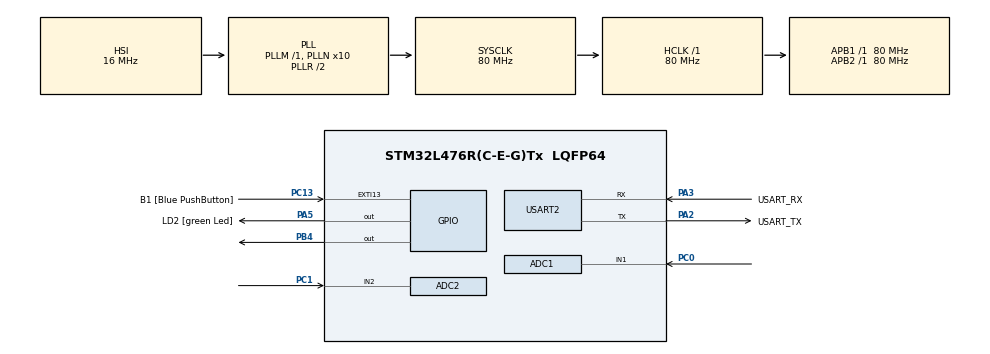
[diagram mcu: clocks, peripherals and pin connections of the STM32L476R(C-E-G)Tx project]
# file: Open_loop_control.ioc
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ADC1.Channel-0\#ChannelRegularConversion=ADC_CHANNEL_1
ADC1.NbrOfConversionFlag=1
ADC1.OffsetNumber-0\#ChannelRegularConversion=ADC_OFFSET_NONE
ADC1.Rank-0\#ChannelRegularConversion=1
ADC1.SamplingTime-0\#ChannelRegularConversion=ADC_SAMPLETIME_2CYCLES_5
ADC1.master=1
ADC2.Channel-0\#ChannelRegularConversion=ADC_CHANNEL_2
ADC2.NbrOfConversionFlag=1
ADC2.OffsetNumber-0\#ChannelRegularConversion=ADC_OFFSET_NONE
ADC2.Rank-0\#ChannelRegularConversion=1
ADC2.SamplingTime-0\#ChannelRegularConversion=ADC_SAMPLETIME_2CYCLES_5
Dma.Request0=USART2_RX
Dma.Request1=USART2_TX
Dma.USART2_RX.0.Direction=DMA_PERIPH_TO_MEMORY
Dma.USART2_RX.0.Instance=DMA1_Channel6
Dma.USART2_RX.0.MemDataAlignment=DMA_MDATAALIGN_BYTE
Dma.USART2_RX.0.MemInc=DMA_MINC_ENABLE
Dma.USART2_RX.0.Mode=DMA_NORMAL
Dma.USART2_RX.0.PeriphDataAlignment=DMA_PDATAALIGN_BYTE
Dma.USART2_RX.0.PeriphInc=DMA_PINC_DISABLE
Dma.USART2_RX.0.Priority=DMA_PRIORITY_LOW
Dma.USART2_TX.1.Direction=DMA_MEMORY_TO_PERIPH
Dma.USART2_TX.1.Instance=DMA1_Channel7
Dma.USART2_TX.1.MemDataAlignment=DMA_MDATAALIGN_BYTE
Dma.USART2_TX.1.MemInc=DMA_MINC_ENABLE
Dma.USART2_TX.1.Mode=DMA_NORMAL
Dma.USART2_TX.1.PeriphDataAlignment=DMA_PDATAALIGN_BYTE
Dma.USART2_TX.1.PeriphInc=DMA_PINC_DISABLE
Dma.USART2_TX.1.Priority=DMA_PRIORITY_LOW
Mcu.Family=STM32L4
Mcu.Name=STM32L476R(C-E-G)Tx
Mcu.Package=LQFP64
NVIC.ADC1_2_IRQn=true\:0\:0\:false\:false\:true\:true\:true\:true
NVIC.DMA1_Channel6_IRQn=true\:0\:0\:false\:false\:true\:false\:true\:true
NVIC.DMA1_Channel7_IRQn=true\:0\:0\:false\:false\:true\:false\:true\:true
NVIC.PriorityGroup=NVIC_PRIORITYGROUP_4
NVIC.USART2_IRQn=true\:0\:0\:false\:false\:true\:true\:true\:true
PA13\ (JTMS-SWDIO).GPIO_Label=TMS
PA13\ (JTMS-SWDIO).Mode=Serial_Wire
PA13\ (JTMS-SWDIO).Signal=SYS_JTMS-SWDIO
PA14\ (JTCK-SWCLK).GPIO_Label=TCK
PA14\ (JTCK-SWCLK).Mode=Serial_Wire
PA14\ (JTCK-SWCLK).Signal=SYS_JTCK-SWCLK
PA2.GPIO_Label=USART_TX
PA2.GPIO_Mode=GPIO_MODE_AF_PP
PA2.GPIO_PuPd=GPIO_NOPULL
PA2.GPIO_Speed=GPIO_SPEED_FREQ_VERY_HIGH
PA2.Mode=Asynchronous
PA2.Signal=USART2_TX
PA3.GPIO_Label=USART_RX
PA3.GPIO_Mode=GPIO_MODE_AF_PP
PA3.GPIO_PuPd=GPIO_NOPULL
PA3.GPIO_Speed=GPIO_SPEED_FREQ_VERY_HIGH
PA3.Mode=Asynchronous
PA3.Signal=USART2_RX
PA5.GPIO_Label=LD2 [green Led]
PA5.GPIO_ModeDefaultOutputPP=GPIO_MODE_OUTPUT_PP
PA5.GPIO_PuPd=GPIO_NOPULL
PA5.GPIO_Speed=GPIO_SPEED_FREQ_LOW
PA5.Signal=GPIO_Output
PB3\ (JTDO-TRACESWO).GPIO_Label=SWO
PB3\ (JTDO-TRACESWO).Signal=SYS_JTDO-SWO
PB4\ (NJTRST).Signal=GPIO_Output
PC0.Signal=ADCx_IN1
PC1.Signal=ADCx_IN2
PC13.GPIO_Label=B1 [Blue PushButton]
PC13.GPIO_ModeDefaultEXTI=GPIO_MODE_IT_FALLING
PC13.GPIO_PuPd=GPIO_NOPULL
PC13.Signal=GPXTI13
PC14-OSC32_IN\ (PC14).Mode=LSE-External-Oscillator
PC14-OSC32_IN\ (PC14).Signal=RCC_OSC32_IN
PC15-OSC32_OUT\ (PC15).Mode=LSE-External-Oscillator
PC15-OSC32_OUT\ (PC15).Signal=RCC_OSC32_OUT
PH0-OSC_IN\ (PH0).Signal=RCC_OSC_IN
PH1-OSC_OUT\ (PH1).Signal=RCC_OSC_OUT
ProjectManager.HeapSize=0x200
ProjectManager.StackSize=0x400
ProjectManager.TargetToolchain=STM32CubeIDE
RCC.ADCFreq_Value=64000000
RCC.AHBFreq_Value=80000000
RCC.APB1Freq_Value=80000000
RCC.APB1TimFreq_Value=80000000
RCC.APB2Freq_Value=80000000
RCC.APB2TimFreq_Value=80000000
RCC.CortexFreq_Value=80000000
RCC.HCLKFreq_Value=80000000
RCC.HSE_VALUE=8000000
RCC.HSI_VALUE=16000000
RCC.MSI_VALUE=4000000
RCC.PLLN=10
RCC.PLLSourceVirtual=RCC_PLLSOURCE_HSI
RCC.PREFETCH_ENABLE=1
RCC.SYSCLKFreq_VALUE=80000000
RCC.SYSCLKSource=RCC_SYSCLKSOURCE_PLLCLK
RCC.USBFreq_Value=64000000
RCC.VCOOutputFreq_Value=160000000
SH.ADCx_IN1.0=ADC1_IN1,IN1-Single-Ended
SH.ADCx_IN2.0=ADC2_IN2,IN2-Single-Ended
USART2.VirtualMode-Asynchronous=VM_ASYNC
USART2.WordLength=WORDLENGTH_8B
board=NUCLEO-L476RG

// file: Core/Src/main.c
/* USER CODE BEGIN Header */
/**
  ******************************************************************************
  * @file           : main.c
  * @brief          : Main program body
  ******************************************************************************
  * @attention
  *
  * Copyright (c) 2023 STMicroelectronics.
  * All rights reserved.
  *
  * This software is licensed under terms that can be found in the LICENSE file
  * in the root directory of this software component.
  * If no LICENSE file comes with this software, it is provided AS-IS.
  *
  ******************************************************************************
  */
/* USER CODE END Header */
#include "main.h"

/* USER CODE BEGIN Includes */
#include <stdio.h>
#include <stdint.h>
#include <string.h>
/* USER CODE END Includes */

/* USER CODE BEGIN PM */
#define UART_RX_BUFFER_SIZE 8
#define UART_TX_BUFFER_SIZE 12
/* USER CODE END PM */

ADC_HandleTypeDef hadc1;
ADC_HandleTypeDef hadc2;

UART_HandleTypeDef huart2;
DMA_HandleTypeDef hdma_usart2_rx;
DMA_HandleTypeDef hdma_usart2_tx;

void SystemClock_Config(void);
void PeriphCommonClock_Config(void);
static void MX_GPIO_Init(void);
static void MX_DMA_Init(void);
static void MX_USART2_UART_Init(void);
static void MX_ADC1_Init(void);
static void MX_ADC2_Init(void);
/* USER CODE BEGIN PFP */
void SIM_set_torques(uint8_t *Tx_data, float torqueLeft, float torqueRight);
void SIM_set_steering_angle(uint8_t *Tx_data, float steeringAngle);
/* USER CODE END PFP */

/* USER CODE BEGIN 0 */

uint8_t UART_Rx_data[UART_RX_BUFFER_SIZE]; // UART receive data buffer.
uint8_t UART_Tx_data[UART_TX_BUFFER_SIZE]; // UART transive data buffer.

uint32_t adc1_value; // Values from potentiometer controlling the torque.
uint8_t adc1_valid = 0;
uint32_t adc2_value; // Values from potentiometer controlling the steering angle.
uint8_t adc2_valid = 0;

/*
 * HAL_UART_RxCpltCallback
 *
 * @brief Receives data from UART via interrupt.
 *
 * @param huart	UART Handle.
 * @retval none
 */
void HAL_UART_RxCpltCallback(UART_HandleTypeDef *huart)
{
	HAL_UART_Receive_IT(&huart2, UART_Rx_data, UART_RX_BUFFER_SIZE);
	HAL_UART_Transmit_IT(&huart2, UART_Tx_data, sizeof(UART_Tx_data));
}

void HAL_UART_TxCpltCallback(UART_HandleTypeDef *huart)
{

}

void HAL_ADC_ConvCpltCallback(ADC_HandleTypeDef *hadc)
{
	if (hadc == &hadc1)
	{
		adc1_value = HAL_ADC_GetValue(&hadc1);
		adc1_valid = 1;
	}

	if (hadc == &hadc2)
	{
		adc2_value = HAL_ADC_GetValue(&hadc2);
		adc2_valid = 1	;
	}
}
/* USER CODE END 0 */

int main(void)
{

  /* MCU Configuration--------------------------------------------------------*/

  /* Reset of all peripherals, Initializes the Flash interface and the Systick. */
  HAL_Init();

  /* Configure the system clock */
  SystemClock_Config();

/* Configure the peripherals common clocks */
  PeriphCommonClock_Config();

  /* Initialize all configured peripherals */
  MX_GPIO_Init();
  MX_DMA_Init();
  MX_USART2_UART_Init();
  MX_ADC1_Init();
  MX_ADC2_Init();
  /* USER CODE BEGIN 2 */
  float torque;
  float const torqueMax = 200;
  float const torqueMin = 0;

  float steeringAngle;
  float const steeringAngleMax = 30;
  float const steeringAngleMin = -30;

  HAL_UART_Receive_IT(&huart2, UART_Rx_data, UART_RX_BUFFER_SIZE);
  HAL_UART_Transmit_IT(&huart2, UART_Tx_data, sizeof(UART_Tx_data));
  HAL_ADC_Start_IT(&hadc1);
  HAL_ADC_Start_IT(&hadc2);

  /* USER CODE END 2 */

  /* Infinite loop */
  /* USER CODE BEGIN WHILE */
  while (1)
  {
	  if (adc1_valid == 1)
	  {
		  torque = (float) adc1_value * (torqueMax - torqueMin)/4095 + torqueMin;
		  SIM_set_torques(UART_Tx_data, torque, torque);

		  adc1_valid = 0;
		  HAL_ADC_Start_IT(&hadc1);
	  }

	  if (adc2_valid == 1)
	  {
		  steeringAngle = (float) adc2_value*(steeringAngleMax - steeringAngleMin)/4095 + steeringAngleMin;
		  SIM_set_steering_angle(UART_Tx_data, steeringAngle);

		  adc2_valid = 0;
		  HAL_ADC_Start_IT(&hadc2);

	  }

	  HAL_GPIO_TogglePin(GPIOB, GPIO_PIN_4);
	  HAL_Delay(10);
    /* USER CODE END WHILE */

  }
}

void SystemClock_Config(void)
{
  RCC_OscInitTypeDef RCC_OscInitStruct = {0};
  RCC_ClkInitTypeDef RCC_ClkInitStruct = {0};

  /** Configure the main internal regulator output voltage
  */
  if (HAL_PWREx_ControlVoltageScaling(PWR_REGULATOR_VOLTAGE_SCALE1) != HAL_OK)
  {
    Error_Handler();
  }

  /** Initializes the RCC Oscillators according to the specified parameters
  * in the RCC_OscInitTypeDef structure.
  */
  RCC_OscInitStruct.OscillatorType = RCC_OSCILLATORTYPE_HSI;
  RCC_OscInitStruct.HSIState = RCC_HSI_ON;
  RCC_OscInitStruct.HSICalibrationValue = RCC_HSICALIBRATION_DEFAULT;
  RCC_OscInitStruct.PLL.PLLState = RCC_PLL_ON;
  RCC_OscInitStruct.PLL.PLLSource = RCC_PLLSOURCE_HSI;
  RCC_OscInitStruct.PLL.PLLM = 1;
  RCC_OscInitStruct.PLL.PLLN = 10;
  RCC_OscInitStruct.PLL.PLLP = RCC_PLLP_DIV7;
  RCC_OscInitStruct.PLL.PLLQ = RCC_PLLQ_DIV2;
  RCC_OscInitStruct.PLL.PLLR = RCC_PLLR_DIV2;
  if (HAL_RCC_OscConfig(&RCC_OscInitStruct) != HAL_OK)
  {
    Error_Handler();
  }

  /** Initializes the CPU, AHB and APB buses clocks
  */
  RCC_ClkInitStruct.ClockType = RCC_CLOCKTYPE_HCLK|RCC_CLOCKTYPE_SYSCLK
                              |RCC_CLOCKTYPE_PCLK1|RCC_CLOCKTYPE_PCLK2;
  RCC_ClkInitStruct.SYSCLKSource = RCC_SYSCLKSOURCE_PLLCLK;
  RCC_ClkInitStruct.AHBCLKDivider = RCC_SYSCLK_DIV1;
  RCC_ClkInitStruct.APB1CLKDivider = RCC_HCLK_DIV1;
  RCC_ClkInitStruct.APB2CLKDivider = RCC_HCLK_DIV1;

  if (HAL_RCC_ClockConfig(&RCC_ClkInitStruct, FLASH_LATENCY_4) != HAL_OK)
  {
    Error_Handler();
  }
}

void PeriphCommonClock_Config(void)
{
  RCC_PeriphCLKInitTypeDef PeriphClkInit = {0};

  /** Initializes the peripherals clock
  */
  PeriphClkInit.PeriphClockSelection = RCC_PERIPHCLK_ADC;
  PeriphClkInit.AdcClockSelection = RCC_ADCCLKSOURCE_PLLSAI1;
  PeriphClkInit.PLLSAI1.PLLSAI1Source = RCC_PLLSOURCE_HSI;
  PeriphClkInit.PLLSAI1.PLLSAI1M = 1;
  PeriphClkInit.PLLSAI1.PLLSAI1N = 8;
  PeriphClkInit.PLLSAI1.PLLSAI1P = RCC_PLLP_DIV7;
  PeriphClkInit.PLLSAI1.PLLSAI1Q = RCC_PLLQ_DIV2;
  PeriphClkInit.PLLSAI1.PLLSAI1R = RCC_PLLR_DIV2;
  PeriphClkInit.PLLSAI1.PLLSAI1ClockOut = RCC_PLLSAI1_ADC1CLK;
  if (HAL_RCCEx_PeriphCLKConfig(&PeriphClkInit) != HAL_OK)
  {
    Error_Handler();
  }
}

static void MX_ADC1_Init(void)
{

  ADC_MultiModeTypeDef multimode = {0};
  ADC_ChannelConfTypeDef sConfig = {0};

  /** Common config
  */
  hadc1.Instance = ADC1;
  hadc1.Init.ClockPrescaler = ADC_CLOCK_ASYNC_DIV1;
  hadc1.Init.Resolution = ADC_RESOLUTION_12B;
  hadc1.Init.DataAlign = ADC_DATAALIGN_RIGHT;
  hadc1.Init.ScanConvMode = ADC_SCAN_DISABLE;
  hadc1.Init.EOCSelection = ADC_EOC_SINGLE_CONV;
  hadc1.Init.LowPowerAutoWait = DISABLE;
  hadc1.Init.ContinuousConvMode = DISABLE;
  hadc1.Init.NbrOfConversion = 1;
  hadc1.Init.DiscontinuousConvMode = DISABLE;
  hadc1.Init.ExternalTrigConv = ADC_SOFTWARE_START;
  hadc1.Init.ExternalTrigConvEdge = ADC_EXTERNALTRIGCONVEDGE_NONE;
  hadc1.Init.DMAContinuousRequests = DISABLE;
  hadc1.Init.Overrun = ADC_OVR_DATA_PRESERVED;
  hadc1.Init.OversamplingMode = DISABLE;
  if (HAL_ADC_Init(&hadc1) != HAL_OK)
  {
    Error_Handler();
  }

  /** Configure the ADC multi-mode
  */
  multimode.Mode = ADC_MODE_INDEPENDENT;
  if (HAL_ADCEx_MultiModeConfigChannel(&hadc1, &multimode) != HAL_OK)
  {
    Error_Handler();
  }

  /** Configure Regular Channel
  */
  sConfig.Channel = ADC_CHANNEL_1;
  sConfig.Rank = ADC_REGULAR_RANK_1;
  sConfig.SamplingTime = ADC_SAMPLETIME_2CYCLES_5;
  sConfig.SingleDiff = ADC_SINGLE_ENDED;
  sConfig.OffsetNumber = ADC_OFFSET_NONE;
  sConfig.Offset = 0;
  if (HAL_ADC_ConfigChannel(&hadc1, &sConfig) != HAL_OK)
  {
    Error_Handler();
  }

}

static void MX_ADC2_Init(void)
{

  ADC_ChannelConfTypeDef sConfig = {0};

  /** Common config
  */
  hadc2.Instance = ADC2;
  hadc2.Init.ClockPrescaler = ADC_CLOCK_ASYNC_DIV1;
  hadc2.Init.Resolution = ADC_RESOLUTION_12B;
  hadc2.Init.DataAlign = ADC_DATAALIGN_RIGHT;
  hadc2.Init.ScanConvMode = ADC_SCAN_DISABLE;
  hadc2.Init.EOCSelection = ADC_EOC_SINGLE_CONV;
  hadc2.Init.LowPowerAutoWait = DISABLE;
  hadc2.Init.ContinuousConvMode = DISABLE;
  hadc2.Init.NbrOfConversion = 1;
  hadc2.Init.DiscontinuousConvMode = DISABLE;
  hadc2.Init.ExternalTrigConv = ADC_SOFTWARE_START;
  hadc2.Init.ExternalTrigConvEdge = ADC_EXTERNALTRIGCONVEDGE_NONE;
  hadc2.Init.DMAContinuousRequests = DISABLE;
  hadc2.Init.Overrun = ADC_OVR_DATA_PRESERVED;
  hadc2.Init.OversamplingMode = DISABLE;
  if (HAL_ADC_Init(&hadc2) != HAL_OK)
  {
    Error_Handler();
  }

  /** Configure Regular Channel
  */
  sConfig.Channel = ADC_CHANNEL_2;
  sConfig.Rank = ADC_REGULAR_RANK_1;
  sConfig.SamplingTime = ADC_SAMPLETIME_2CYCLES_5;
  sConfig.SingleDiff = ADC_SINGLE_ENDED;
  sConfig.OffsetNumber = ADC_OFFSET_NONE;
  sConfig.Offset = 0;
  if (HAL_ADC_ConfigChannel(&hadc2, &sConfig) != HAL_OK)
  {
    Error_Handler();
  }

}

static void MX_USART2_UART_Init(void)
{

  huart2.Instance = USART2;
  huart2.Init.BaudRate = 115200;
  huart2.Init.WordLength = UART_WORDLENGTH_8B;
  huart2.Init.StopBits = UART_STOPBITS_1;
  huart2.Init.Parity = UART_PARITY_NONE;
  huart2.Init.Mode = UART_MODE_TX_RX;
  huart2.Init.HwFlowCtl = UART_HWCONTROL_NONE;
  huart2.Init.OverSampling = UART_OVERSAMPLING_16;
  huart2.Init.OneBitSampling = UART_ONE_BIT_SAMPLE_DISABLE;
  huart2.AdvancedInit.AdvFeatureInit = UART_ADVFEATURE_NO_INIT;
  if (HAL_UART_Init(&huart2) != HAL_OK)
  {
    Error_Handler();
  }

}

static void MX_DMA_Init(void)
{

  /* DMA controller clock enable */
  __HAL_RCC_DMA1_CLK_ENABLE();

  /* DMA interrupt init */
  /* DMA1_Channel6_IRQn interrupt configuration */
  HAL_NVIC_SetPriority(DMA1_Channel6_IRQn, 0, 0);
  HAL_NVIC_EnableIRQ(DMA1_Channel6_IRQn);
  /* DMA1_Channel7_IRQn interrupt configuration */
  HAL_NVIC_SetPriority(DMA1_Channel7_IRQn, 0, 0);
  HAL_NVIC_EnableIRQ(DMA1_Channel7_IRQn);

}

static void MX_GPIO_Init(void)
{
  GPIO_InitTypeDef GPIO_InitStruct = {0};

  /* GPIO Ports Clock Enable */
  __HAL_RCC_GPIOC_CLK_ENABLE();
  __HAL_RCC_GPIOH_CLK_ENABLE();
  __HAL_RCC_GPIOA_CLK_ENABLE();
  __HAL_RCC_GPIOB_CLK_ENABLE();

  /*Configure GPIO pin Output Level */
  HAL_GPIO_WritePin(LD2_GPIO_Port, LD2_Pin, GPIO_PIN_RESET);

  /*Configure GPIO pin Output Level */
  HAL_GPIO_WritePin(GPIOB, GPIO_PIN_4, GPIO_PIN_RESET);

  /*Configure GPIO pin : B1_Pin */
  GPIO_InitStruct.Pin = B1_Pin;
  GPIO_InitStruct.Mode = GPIO_MODE_IT_FALLING;
  GPIO_InitStruct.Pull = GPIO_NOPULL;
  HAL_GPIO_Init(B1_GPIO_Port, &GPIO_InitStruct);

  /*Configure GPIO pin : LD2_Pin */
  GPIO_InitStruct.Pin = LD2_Pin;
  GPIO_InitStruct.Mode = GPIO_MODE_OUTPUT_PP;
  GPIO_InitStruct.Pull = GPIO_NOPULL;
  GPIO_InitStruct.Speed = GPIO_SPEED_FREQ_LOW;
  HAL_GPIO_Init(LD2_GPIO_Port, &GPIO_InitStruct);

  /*Configure GPIO pin : PB4 */
  GPIO_InitStruct.Pin = GPIO_PIN_4;
  GPIO_InitStruct.Mode = GPIO_MODE_OUTPUT_PP;
  GPIO_InitStruct.Pull = GPIO_NOPULL;
  GPIO_InitStruct.Speed = GPIO_SPEED_FREQ_LOW;
  HAL_GPIO_Init(GPIOB, &GPIO_InitStruct);

}

/* USER CODE BEGIN 4 */

/*
 * Sim_set_torques
 *
 * @brief	Putes the requested torques into UART Tx buffer.
 *
 * @param 	uint8_t *Tx_data UART transmission buffer.
 * @param	float torqueLeft Reference torque for left wheel.
 * @param	float torqueRight Reference torque for right wheel.
 *
 * 	@retval None
 */
void SIM_set_torques(uint8_t *Tx_data, float torqueLeft, float torqueRight)
{
	// bitmask for extracting 1 byte at the time
	uint8_t bitmask = 0xff;

	// Turns the bits to uint32_t.
	uint32_t tempLeft = * (uint32_t *) &torqueLeft;
	uint32_t tempRight = * (uint32_t *) &torqueRight;

    // Puts the values into temp buffer.
	for (int i = 0; i < 4; i++)
	{
		*(Tx_data + i) 		= (uint8_t) (tempLeft >> (24 - 8*i)) & bitmask;
		*(Tx_data + 4 + i) 	= (uint8_t) (tempRight >> (24 - 8*i)) & bitmask;
	}

}

/*
 * SIM_set_steering_angle
 *
 * @brief	Putes the requested torques into UART Tx buffer.
 *
 * @param 	uint8_t *Tx_data UART transmission buffer.
 * @param	float steeringAngle steering angle.
 *
 * 	@retval None
 */
void SIM_set_steering_angle(uint8_t *Tx_data, float steeringAngle)
{

	// bitmask for extracting 1 byte at the time
	uint8_t bitmask = 0xff;

	// Turns the bits to uint32_t.
	uint32_t tempSteer = * (uint32_t *) &steeringAngle;

	for (int i = 0; i < 4; i++)
	{
		*(Tx_data + 8 + i) 	= (uint8_t) (tempSteer >> (24 - 8*i)) & bitmask;
	}

}

/* USER CODE END 4 */

void Error_Handler(void)
{
  __disable_irq();
  while (1)
  {
  }
}
